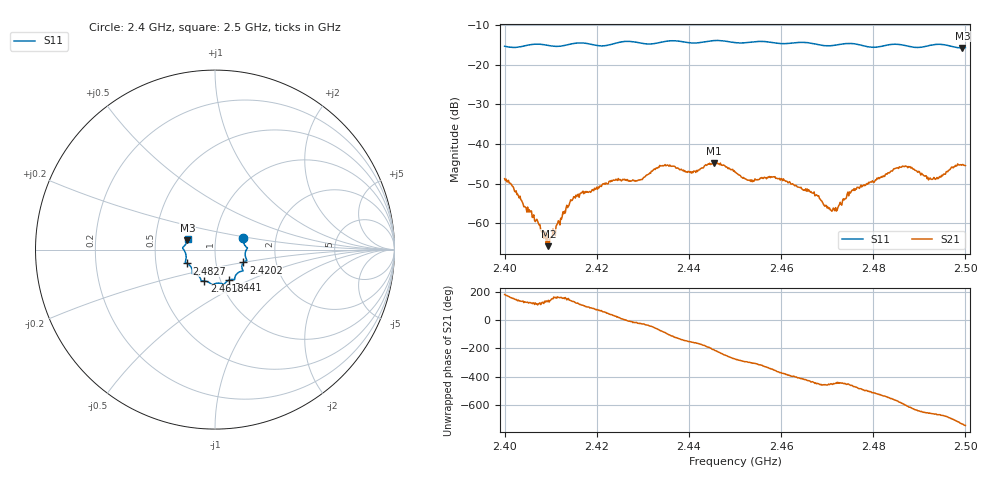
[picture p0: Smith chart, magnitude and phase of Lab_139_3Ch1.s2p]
# Hz S RI R 50
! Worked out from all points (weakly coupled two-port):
!   601 points, 2.4 GHz to 2.5 GHz, reference 50 ohm
!   highest |S21| = -44.78 dB at 2.4455 GHz (marker M1); lowest = -65.8 dB at 2.4095 GHz (marker M2)
!   lowest |S11| = -15.8 dB at 2.4993 GHz (marker M3), VSWR 1.39, Z = 36.5 + j3.85 ohm
!   |S11| at or under -10 dB: start of sweep to end of sweep
!   S12 and S22 are empty: the file has one direction only
!   S11 on the Smith chart (normalised r, x): 2.4 GHz: 1.36, +0.18; 2.4202 GHz: 1.36, -0.20; 2.441 GHz: 1.10, -0.39; 2.4618 GHz: 0.84, -0.30; 2.4827 GHz: 0.72, -0.12; 2.5 GHz: 0.73, +0.09
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2.4e9  0.1583 0.0628  -0.00364 3.13e-05  0 0  0 0
2.4095e9  0.1741 -0.00203  -0.000387 0.000339  0 0  0 0
2.414667e9  0.1749 -0.0539  -0.00129 0.00146  0 0  0 0
2.416667e9  0.1774 -0.0607  -0.000666 0.00231  0 0  0 0
2.420167e9  0.1582 -0.0716  0.000844 0.00255  0 0  0 0
2.429333e9  0.1425 -0.1219  0.00318 -0.00145  0 0  0 0
2.433333e9  0.1118 -0.1509  0.00203 -0.00466  0 0  0 0
2.441e9  0.0785 -0.1697  -0.00421 -0.00169  0 0  0 0
2.4455e9  0.0511 -0.1941  -0.00497 0.00292  0 0  0 0
2.45e9  0.0284 -0.1872  0.000328 0.00439  0 0  0 0
2.453e9  -0.000606 -0.1906  0.00162 0.00309  0 0  0 0
2.458167e9  -0.0262 -0.1878  0.00371 0.000941  0 0  0 0
2.461833e9  -0.0593 -0.1756  0.00288 -0.0017  0 0  0 0
2.466667e9  -0.0784 -0.1681  0.000638 -0.00233  0 0  0 0
2.471667e9  -0.1102 -0.1362  7.23e-05 -0.00144  0 0  0 0
2.475333e9  -0.1271 -0.1332  -0.000407 -0.00255  0 0  0 0
2.482667e9  -0.1562 -0.0774  -0.00414 -0.000212  0 0  0 0
2.483333e9  -0.1606 -0.0754  -0.00433 0.000335  0 0  0 0
2.4875e9  -0.1618 -0.0547  -0.00202 0.00459  0 0  0 0
2.493167e9  -0.1782 0.00527  0.00192 0.00326  0 0  0 0
2.499333e9  -0.154 0.0514  0.00538 -0.0011  0 0  0 0
2.5e9  -0.1523 0.061  0.00496 -0.00194  0 0  0 0
